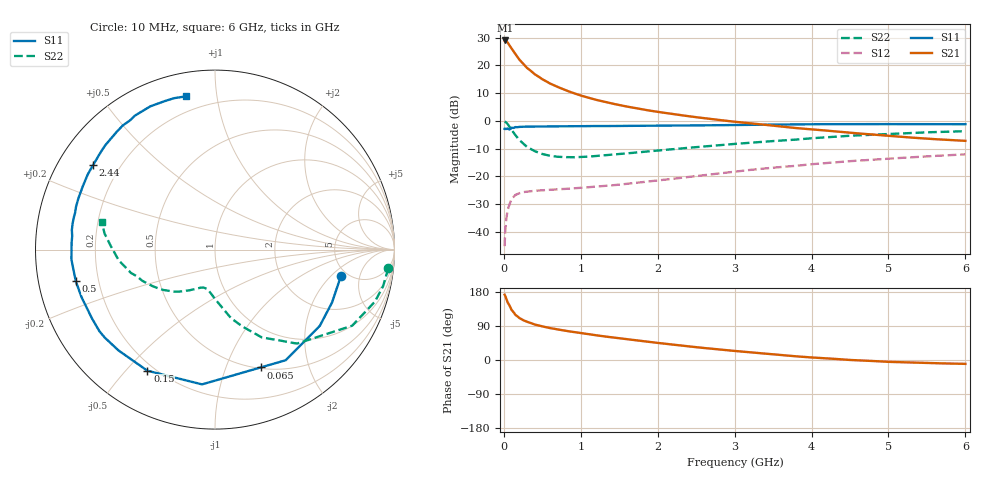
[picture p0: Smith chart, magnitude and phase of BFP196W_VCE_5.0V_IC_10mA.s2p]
! Infineon Technologies  Discrete & RF Semiconductors
! BFP196W
! VCE = 5.0 V,  IC =  10mA
! Common Emitter S-Parameters:  Jan 2016
# GHz  S  MA  R  50
!  f  S11  S21  S12  S22
! GHz  MAG  ANG  MAG  ANG  MAG  ANG  MAG  ANG
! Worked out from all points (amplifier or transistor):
!   210 points, 10 MHz to 6 GHz, reference 50 ohm
!   highest |S21| = 29.0 dB at 20 MHz (marker M1)
!   |S21| within 3 dB of that: start of sweep to 104.3 MHz
!   unconditionally stable (mu >= 1): 1.203 GHz to 3.323 GHz
!   at 185 MHz: K = 0.21, MSG = 24.5 dB, |S12| = -26.3 dB
!   at 1.52 GHz: K = 1.12, MAG = 12.1 dB, |S12| = -23.0 dB
!   at 6 GHz: K = 0.93, MSG = 2.4 dB, |S12| = -12.1 dB
!   S11 on the Smith chart (normalised r, x): 10 MHz: 4.36, -2.67; 65 MHz: 0.51, -1.33; 150 MHz: 0.17, -0.57; 500 MHz: 0.12, -0.11; 2.44 GHz: 0.10, +0.31; 6 GHz: 0.12, +0.82
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0.01  0.7167 -12.0  28.07 172.4  0.0055 81.5  0.9712 -6.1
0.02  0.7155 -24.3  28.16 168.2  0.0111 78.8  0.9587 -12.2
0.03  0.7222 -36.0  27.61 162.6  0.016 73.3  0.9372 -18.0
0.05  0.7315 -57.4  25.81 151.8  0.0248 64.3  0.8742 -29.0
0.065  0.7041 -68.8  23.9 146.9  0.0287 57.4  0.811 -34.0
0.1  0.7544 -95.5  20.34 132.2  0.0389 47.2  0.6948 -48.9
0.15  0.7728 -119.2  16.01 119.2  0.0461 37.1  0.5537 -62.0
0.2  0.7775 -133.7  12.81 111.0  0.0495 31.6  0.4535 -70.5
0.26  0.7883 -144.8  10.35 104.3  0.052 27.6  0.3812 -77.7
0.3  0.7854 -150.7  9.035 100.6  0.0529 25.8  0.3401 -81.3
0.4  0.7896 -160.5  6.953 93.7  0.0549 24.1  0.2848 -88.5
0.5  0.7952 -167.2  5.634 88.5  0.056 23.8  0.2525 -93.8
0.6  0.7971 -172.3  4.713 84.2  0.057 24.5  0.2348 -97.7
0.7  0.8018 -176.2  4.087 80.6  0.0584 25.5  0.2251 -100.9
1.02  0.8002 174.1  2.809 70.5  0.0623 29.9  0.2236 -109.2
1.4  0.806 165.3  2.062 59.8  0.0687 35.8  0.2446 -116.3
2.02  0.8182 153.0  1.441 44.7  0.0848 43.9  0.2928 -127.5
2.44  0.8266 145.4  1.193 35.2  0.0989 46.9  0.3306 -135.2
3.1  0.8456 134.4  0.933 22.1  0.1259 47.8  0.3933 -147.8
4.1  0.8699 119.6  0.685 5.5  0.1695 44.0  0.4951 -166.4
5.1  0.8735 108.4  0.523 -5.5  0.2121 37.0  0.5872 176.9
6  0.8692 100.8  0.436 -10.2  0.2489 30.5  0.6506 166.2
